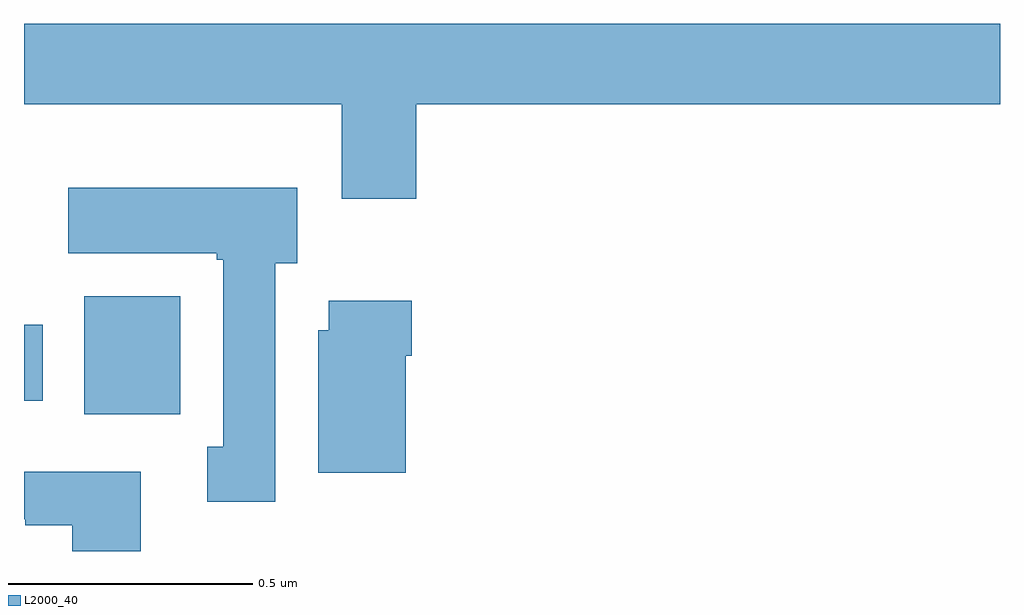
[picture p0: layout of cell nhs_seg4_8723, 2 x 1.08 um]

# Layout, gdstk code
import gdstk
lib = gdstk.Library(unit=1e-6, precision=1e-09)
def R(c, l, rs):  # rectangles x0, y0, x1, y1
    for r in rs: c.add(gdstk.rectangle(r[:2], r[2:], *l))
def P(c, l, *ps):  # polygons
    for p in ps: c.add(gdstk.Polygon(p, *l))
L2000_40 = (2000, 40)

nhs_seg4_8723 = lib.new_cell('nhs_seg4_8723')
R(nhs_seg4_8723, L2000_40, [(218.123,800.18,218.32,800.422), (218,800.208,218.038,800.364)])
P(nhs_seg4_8723, L2000_40, [(218.804,800.816),(220,800.816),(220,800.98),(218,800.98),(218,800.816),(218.651,800.816),(218.651,800.622),(218.804,800.622)],
  [(218.515,800.49),(218.56,800.49),(218.56,800.644),(218.091,800.644),(218.091,800.51),(218.395,800.51),(218.395,800.497),(218.408,800.497),(218.408,800.114),(218.375,800.114),(218.375,800.001),(218.515,800.001)],
  [(218.782,800.3),(218.795,800.3),(218.795,800.413),(218.624,800.413),(218.624,800.352),(218.603,800.352),(218.603,800.06),(218.782,800.06)],
  [(218.239,800.062),(218,800.062),(218,799.965),(218.003,799.965),(218.003,799.953),(218.099,799.953),(218.099,799.9),(218.239,799.9)])

lib.write_gds('nhs_seg4_8723.gds')
